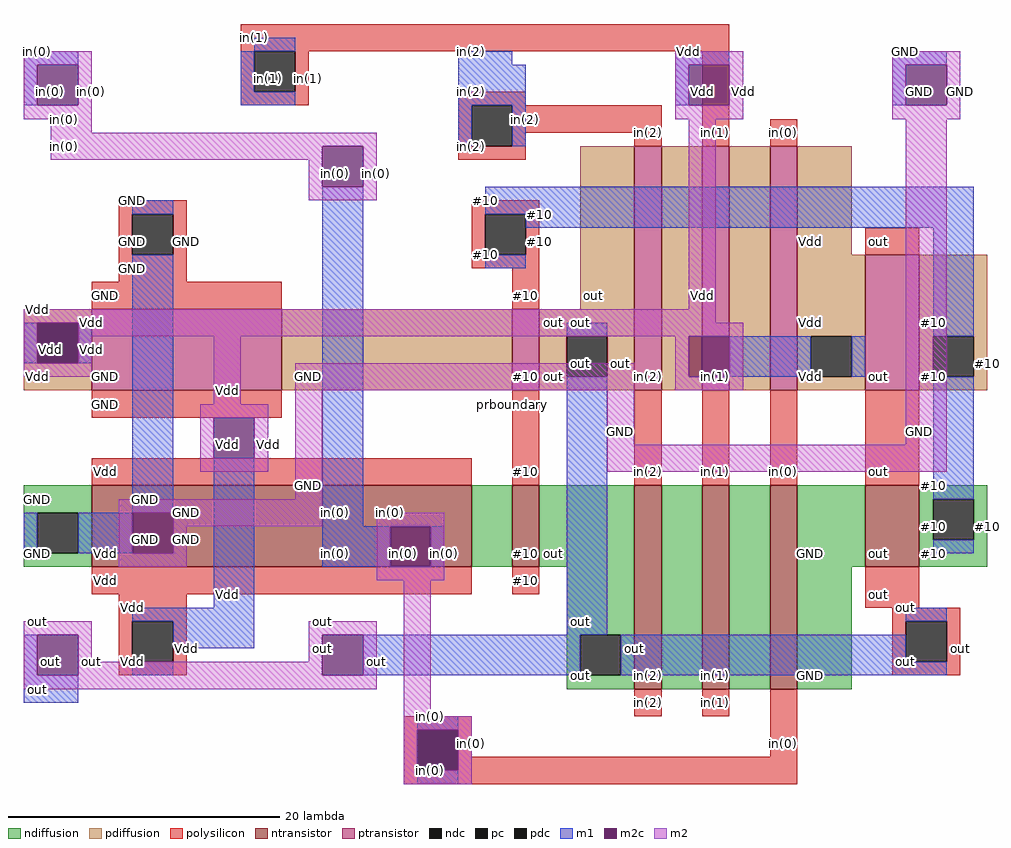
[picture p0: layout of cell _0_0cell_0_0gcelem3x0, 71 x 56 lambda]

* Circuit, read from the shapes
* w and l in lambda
.subckt _0_0cell_0_0gcelem3x0 out in(2) in(0) in(1)
M1 n1 Vdd GND VSUBS nfet w=6 l=28
M2 out #10 n1 VSUBS nfet w=6 l=2
M3 n2 in(2) out VSUBS nfet w=15 l=2
M4 n3 in(1) n2 VSUBS nfet w=15 l=2
M5 GND in(0) n3 VSUBS nfet w=15 l=2
M6 #10 out GND VSUBS nfet w=6 l=4
M7 n4 GND Vdd NWELL pfet w=6 l=14
M8 out #10 n4 NWELL pfet w=6 l=2
M9 n5 in(2) out NWELL pfet w=18 l=2
M10 n6 in(1) n5 NWELL pfet w=18 l=2
M11 Vdd in(0) n6 NWELL pfet w=18 l=2
M12 #10 out Vdd NWELL pfet w=10 l=4
.ends

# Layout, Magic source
magic
tech sky130l
<< ndiffusion >>
rect 8 22 13 24
rect 8 19 9 22
rect 12 19 13 22
rect 8 18 13 19
rect 41 18 44 24
rect 46 18 53 24
rect 48 13 53 18
rect 48 10 49 13
rect 52 10 53 13
rect 48 9 53 10
rect 55 9 58 24
rect 60 9 63 24
rect 65 18 70 24
rect 74 23 79 24
rect 74 20 75 23
rect 78 20 79 23
rect 74 18 79 20
rect 65 9 69 18
<< ndc >>
rect 9 19 12 22
rect 49 10 52 13
rect 75 20 78 23
<< ntransistor >>
rect 13 18 41 24
rect 44 18 46 24
rect 53 9 55 24
rect 58 9 60 24
rect 63 9 65 24
rect 70 18 74 24
<< pdiffusion >>
rect 49 37 53 49
rect 8 36 13 37
rect 8 33 9 36
rect 12 33 13 36
rect 8 31 13 33
rect 27 31 44 37
rect 46 35 53 37
rect 46 32 48 35
rect 51 32 53 35
rect 46 31 53 32
rect 55 31 58 49
rect 60 31 63 49
rect 65 41 69 49
rect 65 35 70 41
rect 65 32 66 35
rect 69 32 70 35
rect 65 31 70 32
rect 74 35 79 41
rect 74 32 75 35
rect 78 32 79 35
rect 74 31 79 32
<< pdc >>
rect 9 33 12 36
rect 48 32 51 35
rect 66 32 69 35
rect 75 32 78 35
<< ptransistor >>
rect 13 31 27 37
rect 44 31 46 37
rect 53 31 55 49
rect 58 31 60 49
rect 63 31 65 49
rect 70 31 74 41
<< polysilicon >>
rect 24 56 60 58
rect 24 53 25 56
rect 28 53 29 56
rect 24 52 29 53
rect 40 52 45 53
rect 40 49 41 52
rect 44 50 55 52
rect 44 49 45 50
rect 53 49 55 50
rect 58 49 60 56
rect 63 49 65 51
rect 40 48 45 49
rect 15 44 20 45
rect 15 41 16 44
rect 19 41 20 44
rect 15 39 20 41
rect 41 44 46 45
rect 41 41 42 44
rect 45 41 46 44
rect 41 40 46 41
rect 13 37 27 39
rect 44 37 46 40
rect 70 41 74 43
rect 13 29 27 31
rect 13 24 41 26
rect 44 24 46 31
rect 53 24 55 31
rect 58 24 60 31
rect 63 24 65 31
rect 70 24 74 31
rect 13 16 41 18
rect 44 16 46 18
rect 15 14 20 16
rect 15 11 16 14
rect 19 11 20 14
rect 15 10 20 11
rect 70 15 74 18
rect 72 14 77 15
rect 72 11 73 14
rect 76 11 77 14
rect 72 10 77 11
rect 53 7 55 9
rect 58 7 60 9
rect 36 6 41 7
rect 36 3 37 6
rect 40 4 41 6
rect 63 4 65 9
rect 40 3 65 4
rect 36 2 65 3
<< pc >>
rect 25 53 28 56
rect 41 49 44 52
rect 16 41 19 44
rect 42 41 45 44
rect 16 11 19 14
rect 73 11 76 14
rect 37 3 40 6
<< m1 >>
rect 25 56 28 57
rect 8 55 12 56
rect 8 52 9 55
rect 24 53 25 56
rect 24 52 28 53
rect 40 55 44 56
rect 56 55 60 56
rect 40 52 45 55
rect 56 52 57 55
rect 72 55 76 56
rect 72 52 73 55
rect 40 49 41 52
rect 44 49 45 52
rect 16 44 19 45
rect 8 33 9 36
rect 12 33 13 36
rect 16 22 19 41
rect 8 19 9 22
rect 12 19 16 22
rect 22 15 25 26
rect 30 21 33 46
rect 42 44 78 46
rect 45 43 78 44
rect 42 40 45 41
rect 48 35 51 36
rect 75 35 78 43
rect 60 32 66 35
rect 69 32 70 35
rect 30 18 35 21
rect 38 18 39 21
rect 16 14 25 15
rect 8 10 9 13
rect 19 12 25 14
rect 48 13 51 32
rect 75 23 78 32
rect 75 19 78 20
rect 73 14 76 15
rect 16 10 19 11
rect 33 10 49 13
rect 52 11 73 13
rect 52 10 76 11
rect 8 8 12 10
rect 37 6 40 7
rect 37 2 40 3
<< m2c >>
rect 9 52 12 55
rect 57 52 60 55
rect 73 52 76 55
rect 30 46 33 49
rect 9 33 12 36
rect 16 19 19 22
rect 22 26 25 29
rect 57 32 60 35
rect 35 18 38 21
rect 9 10 12 13
rect 30 10 33 13
rect 37 3 40 6
<< m2 >>
rect 8 55 13 56
rect 8 52 9 55
rect 12 52 13 55
rect 8 51 13 52
rect 56 55 61 56
rect 56 52 57 55
rect 60 52 61 55
rect 56 51 61 52
rect 72 55 77 56
rect 72 52 73 55
rect 76 52 77 55
rect 72 51 77 52
rect 10 50 13 51
rect 10 49 34 50
rect 10 48 30 49
rect 29 46 30 48
rect 33 46 34 49
rect 29 45 34 46
rect 57 37 59 51
rect 8 36 59 37
rect 8 33 9 36
rect 12 35 61 36
rect 12 33 13 35
rect 8 32 13 33
rect 22 30 24 35
rect 28 31 53 33
rect 56 32 57 35
rect 60 32 61 35
rect 56 31 61 32
rect 21 29 26 30
rect 21 26 22 29
rect 25 26 26 29
rect 21 25 26 26
rect 28 23 30 31
rect 51 27 53 31
rect 73 27 76 51
rect 51 25 76 27
rect 15 22 30 23
rect 15 19 16 22
rect 19 21 30 22
rect 34 21 39 22
rect 19 19 20 21
rect 15 18 20 19
rect 34 18 35 21
rect 38 18 39 21
rect 34 17 39 18
rect 8 13 13 14
rect 8 10 9 13
rect 12 11 13 13
rect 29 13 34 14
rect 29 11 30 13
rect 12 10 30 11
rect 33 10 34 13
rect 8 9 34 10
rect 36 7 38 17
rect 36 6 41 7
rect 36 3 37 6
rect 40 3 41 6
rect 36 2 41 3
<< labels >>
rlabel space 0 0 88 60 6 prboundary
rlabel polysilicon 77 12 77 12 3 out
rlabel ndiffusion 79 21 79 21 3 #10
rlabel polysilicon 73 15 73 15 3 out
rlabel pdiffusion 79 33 79 33 3 #10
rlabel polysilicon 73 11 73 11 3 out
rlabel polysilicon 73 12 73 12 3 out
rlabel polysilicon 71 16 71 16 3 out
rlabel ndiffusion 75 19 75 19 3 #10
rlabel ndiffusion 75 21 75 21 3 #10
rlabel ndiffusion 75 24 75 24 3 #10
rlabel polysilicon 71 25 71 25 3 out
rlabel polysilicon 64 50 64 50 3 in(0)
rlabel ntransistor 71 19 71 19 3 out
rlabel pdiffusion 75 32 75 32 3 #10
rlabel pdiffusion 75 33 75 33 3 #10
rlabel pdiffusion 75 36 75 36 3 #10
rlabel polysilicon 71 42 71 42 3 out
rlabel ndiffusion 66 10 66 10 3 GND
rlabel ndiffusion 66 19 66 19 3 GND
rlabel polysilicon 64 25 64 25 3 in(0)
rlabel ptransistor 71 32 71 32 3 out
rlabel polysilicon 59 50 59 50 3 in(1)
rlabel polysilicon 59 8 59 8 3 in(1)
rlabel ntransistor 64 10 64 10 3 in(0)
rlabel pdiffusion 66 32 66 32 3 Vdd
rlabel pdiffusion 66 33 66 33 3 Vdd
rlabel pdiffusion 66 36 66 36 3 Vdd
rlabel pdiffusion 66 42 66 42 3 Vdd
rlabel polysilicon 64 5 64 5 3 in(0)
rlabel polysilicon 59 25 59 25 3 in(1)
rlabel ptransistor 64 32 64 32 3 in(0)
rlabel polysilicon 54 50 54 50 3 in(2)
rlabel polysilicon 54 8 54 8 3 in(2)
rlabel ntransistor 59 10 59 10 3 in(1)
rlabel pdiffusion 50 38 50 38 3 out
rlabel polysilicon 54 25 54 25 3 in(2)
rlabel ptransistor 59 32 59 32 3 in(1)
rlabel polysilicon 46 42 46 42 3 #10
rlabel ntransistor 54 10 54 10 3 in(2)
rlabel pdiffusion 52 33 52 33 3 out
rlabel polysilicon 45 38 45 38 3 #10
rlabel polysilicon 45 51 45 51 3 in(2)
rlabel polysilicon 29 54 29 54 3 in(1)
rlabel polysilicon 41 5 41 5 3 in(0)
rlabel ndiffusion 49 10 49 10 3 out
rlabel ptransistor 54 32 54 32 3 in(2)
rlabel polysilicon 42 41 42 41 3 #10
rlabel polysilicon 42 42 42 42 3 #10
rlabel polysilicon 42 45 42 45 3 #10
rlabel ndiffusion 49 11 49 11 3 out
rlabel polysilicon 20 12 20 12 3 Vdd
rlabel ndiffusion 47 19 47 19 3 out
rlabel pdiffusion 47 32 47 32 3 out
rlabel pdiffusion 47 33 47 33 3 out
rlabel pdiffusion 47 36 47 36 3 out
rlabel polysilicon 41 49 41 49 3 in(2)
rlabel polysilicon 20 42 20 42 3 GND
rlabel polysilicon 25 57 25 57 3 in(1)
rlabel polysilicon 45 17 45 17 3 #10
rlabel ntransistor 45 19 45 19 3 #10
rlabel polysilicon 45 25 45 25 3 #10
rlabel ptransistor 45 32 45 32 3 #10
rlabel polysilicon 16 11 16 11 3 Vdd
rlabel polysilicon 16 12 16 12 3 Vdd
rlabel polysilicon 16 15 16 15 3 Vdd
rlabel polysilicon 16 40 16 40 3 GND
rlabel polysilicon 16 42 16 42 3 GND
rlabel polysilicon 16 45 16 45 3 GND
rlabel polysilicon 14 17 14 17 3 Vdd
rlabel ntransistor 14 19 14 19 3 Vdd
rlabel polysilicon 14 25 14 25 3 Vdd
rlabel polysilicon 14 30 14 30 3 GND
rlabel ptransistor 14 32 14 32 3 GND
rlabel polysilicon 14 38 14 38 3 GND
rlabel ndiffusion 9 19 9 19 3 GND
rlabel ndiffusion 9 23 9 23 3 GND
rlabel pdiffusion 9 32 9 32 3 Vdd
rlabel pdc 76 33 76 33 3 #10
rlabel m1 76 36 76 36 3 #10
rlabel m1 70 33 70 33 3 Vdd
rlabel pdc 67 33 67 33 3 Vdd
rlabel pdc 49 33 49 33 3 out
port 1 e
rlabel m1 49 36 49 36 3 out
port 1 e
rlabel m1 46 44 46 44 3 #10
rlabel m1 43 41 43 41 3 #10
rlabel pc 43 42 43 42 3 #10
rlabel m1 43 45 43 45 3 #10
rlabel m1 74 15 74 15 3 out
port 1 e
rlabel m1 45 50 45 50 3 in(2)
port 2 e
rlabel m1 76 20 76 20 3 #10
rlabel ndc 76 21 76 21 3 #10
rlabel m1 76 24 76 24 3 #10
rlabel pc 42 50 42 50 3 in(2)
port 2 e
rlabel m1 41 56 41 56 3 in(2)
port 2 e
rlabel pc 74 12 74 12 3 out
port 1 e
rlabel m1 41 50 41 50 3 in(2)
port 2 e
rlabel m1 41 53 41 53 3 in(2)
port 2 e
rlabel m1 53 11 53 11 3 out
port 1 e
rlabel m1 53 12 53 12 3 out
port 1 e
rlabel m1 49 14 49 14 3 out
port 1 e
rlabel pc 26 54 26 54 3 in(1)
port 4 e
rlabel m1 26 57 26 57 3 in(1)
port 4 e
rlabel ndc 50 11 50 11 3 out
port 1 e
rlabel m1 31 19 31 19 3 in(0)
port 3 e
rlabel m1 31 22 31 22 3 in(0)
port 3 e
rlabel m1 25 53 25 53 3 in(1)
port 4 e
rlabel m1 25 54 25 54 3 in(1)
port 4 e
rlabel m1 23 16 23 16 3 Vdd
rlabel pc 17 42 17 42 3 GND
rlabel m1 17 45 17 45 3 GND
rlabel m1 38 3 38 3 3 in(0)
port 3 e
rlabel m1 38 7 38 7 3 in(0)
port 3 e
rlabel m1 20 13 20 13 3 Vdd
rlabel m1 17 23 17 23 3 GND
rlabel m1 17 11 17 11 3 Vdd
rlabel pc 17 12 17 12 3 Vdd
rlabel m1 17 15 17 15 3 Vdd
rlabel m1 13 20 13 20 3 GND
rlabel ndc 10 20 10 20 3 GND
rlabel m1 9 9 9 9 3 out
port 1 e
rlabel m1 9 20 9 20 3 GND
rlabel m2 74 28 74 28 3 GND
rlabel m2 39 19 39 19 3 in(0)
port 3 e
rlabel m2 52 26 52 26 3 GND
rlabel m2 52 28 52 28 3 GND
rlabel m2 61 33 61 33 3 Vdd
rlabel m2c 36 19 36 19 3 in(0)
port 3 e
rlabel m2c 58 33 58 33 3 Vdd
rlabel m2 77 53 77 53 3 GND
rlabel m2 35 18 35 18 3 in(0)
port 3 e
rlabel m2 35 19 35 19 3 in(0)
port 3 e
rlabel m2 35 22 35 22 3 in(0)
port 3 e
rlabel m2 57 32 57 32 3 Vdd
rlabel m2 57 33 57 33 3 Vdd
rlabel m2 58 38 58 38 3 Vdd
rlabel m2c 74 53 74 53 3 GND
rlabel m2 41 4 41 4 3 in(0)
port 3 e
rlabel m2 73 53 73 53 3 GND
rlabel m2c 38 4 38 4 3 in(0)
port 3 e
rlabel m2 29 24 29 24 3 GND
rlabel m2 26 27 26 27 3 Vdd
rlabel m2 29 32 29 32 3 GND
rlabel m2 37 3 37 3 3 in(0)
port 3 e
rlabel m2 37 4 37 4 3 in(0)
port 3 e
rlabel m2 37 7 37 7 3 in(0)
port 3 e
rlabel m2 37 8 37 8 3 in(0)
port 3 e
rlabel m2 30 12 30 12 3 out
port 1 e
rlabel m2 30 14 30 14 3 out
port 1 e
rlabel m2c 23 27 23 27 3 Vdd
rlabel m2 23 31 23 31 3 Vdd
rlabel m2 34 47 34 47 3 in(0)
port 3 e
rlabel m2 73 52 73 52 3 GND
rlabel m2 61 53 61 53 3 Vdd
rlabel m2 22 26 22 26 3 Vdd
rlabel m2 22 27 22 27 3 Vdd
rlabel m2 22 30 22 30 3 Vdd
rlabel m2c 31 47 31 47 3 in(0)
port 3 e
rlabel m2c 58 53 58 53 3 Vdd
rlabel m2 34 11 34 11 3 out
port 1 e
rlabel m2 20 20 20 20 3 GND
rlabel m2 20 22 20 22 3 GND
rlabel m2 30 46 30 46 3 in(0)
port 3 e
rlabel m2 30 47 30 47 3 in(0)
port 3 e
rlabel m2 57 52 57 52 3 Vdd
rlabel m2 57 53 57 53 3 Vdd
rlabel m2 73 56 73 56 3 GND
rlabel m2c 31 11 31 11 3 out
port 1 e
rlabel m2c 17 20 17 20 3 GND
rlabel m2 13 11 13 11 3 out
port 1 e
rlabel m2 13 12 13 12 3 out
port 1 e
rlabel m2 16 19 16 19 3 GND
rlabel m2 16 20 16 20 3 GND
rlabel m2 16 23 16 23 3 GND
rlabel m2 13 34 13 34 3 Vdd
rlabel m2 13 36 13 36 3 Vdd
rlabel m2 11 49 11 49 3 in(0)
port 3 e
rlabel m2 11 50 11 50 3 in(0)
port 3 e
rlabel m2 11 51 11 51 3 in(0)
port 3 e
rlabel m2 13 53 13 53 3 in(0)
port 3 e
rlabel m2 57 56 57 56 3 Vdd
rlabel m2c 10 11 10 11 3 out
port 1 e
rlabel m2c 10 34 10 34 3 Vdd
rlabel m2c 10 53 10 53 3 in(0)
port 3 e
rlabel m2 9 10 9 10 3 out
port 1 e
rlabel m2 9 11 9 11 3 out
port 1 e
rlabel m2 9 14 9 14 3 out
port 1 e
rlabel m2 9 33 9 33 3 Vdd
rlabel m2 9 34 9 34 3 Vdd
rlabel m2 9 37 9 37 3 Vdd
rlabel m2 9 52 9 52 3 in(0)
port 3 e
rlabel m2 9 53 9 53 3 in(0)
port 3 e
rlabel m2 9 56 9 56 3 in(0)
port 3 e
<< end >>
